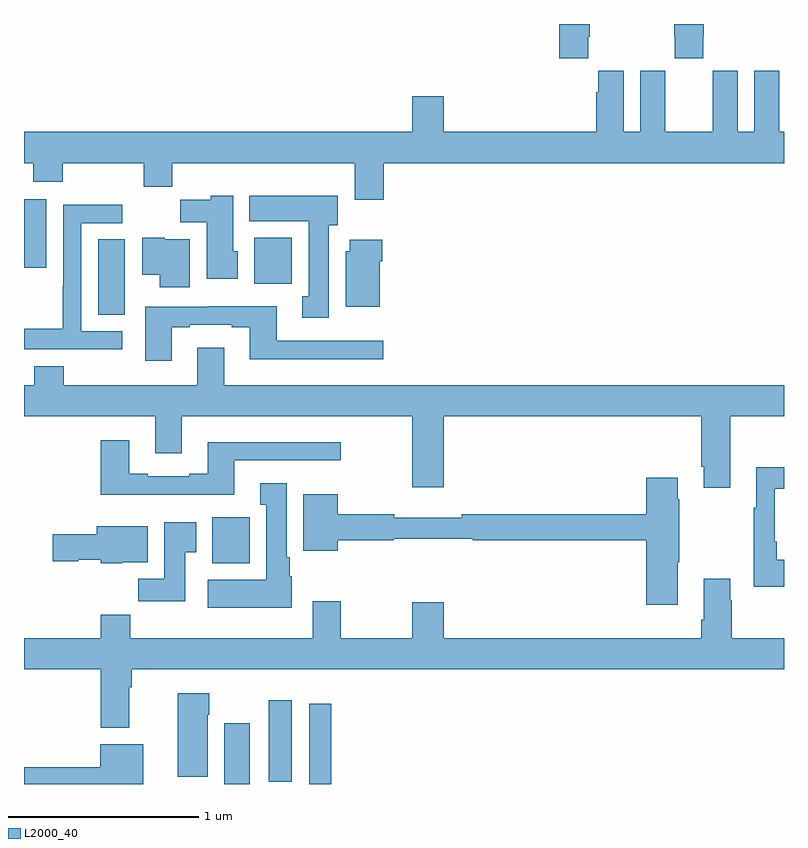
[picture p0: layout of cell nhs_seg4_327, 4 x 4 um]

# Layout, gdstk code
import gdstk
lib = gdstk.Library(unit=1e-6, precision=1e-09)
def R(c, l, rs):  # rectangles x0, y0, x1, y1
    for r in rs: c.add(gdstk.rectangle(r[:2], r[2:], *l))
def P(c, l, *ps):  # polygons
    for p in ps: c.add(gdstk.Polygon(p, *l))
L2000_40 = (2000, 40)

nhs_seg4_327 = lib.new_cell('nhs_seg4_327')
R(nhs_seg4_327, L2000_40, [(128.054,778.9,128.188,779.221), (128.502,778.9,128.618,779.323), (128.288,778.911,128.41,779.341), (127.991,780.062,128.188,780.304), (127.391,781.369,127.531,781.766), (128.213,781.532,128.41,781.774), (127,781.617,127.117,781.978)])
P(nhs_seg4_327, L2000_40, [(130.575,782.833),(130.578,782.833),(130.578,782.9),(130.423,782.9),(130.423,782.833),(130.425,782.833),(130.425,782.721),(130.575,782.721)],
  [(129.971,782.833),(129.977,782.833),(129.977,782.9),(129.818,782.9),(129.818,782.721),(129.971,782.721)],
  [(128.894,782.168),(131,782.168),(131,782.332),(130.975,782.332),(130.975,782.54),(130.974,782.54),(130.974,782.653),(130.844,782.653),(130.844,782.332),(130.756,782.332),(130.756,782.653),(130.626,782.653),(130.626,782.54),(130.625,782.54),(130.625,782.332),(130.375,782.332),(130.375,782.54),(130.374,782.54),(130.374,782.653),(130.244,782.653),(130.244,782.332),(130.156,782.332),(130.156,782.653),(130.022,782.653),(130.022,782.54),(130.013,782.54),(130.013,782.332),(129.208,782.332),(129.208,782.521),(129.044,782.521),(129.044,782.332),(127,782.332),(127,782.168),(127.048,782.168),(127.048,782.069),(127.203,782.069),(127.203,782.168),(127.63,782.168),(127.63,782.044),(127.781,782.044),(127.781,782.168),(128.741,782.168),(128.741,781.974),(128.894,781.974)],
  [(128.605,781.842),(128.65,781.842),(128.65,781.996),(128.186,781.996),(128.186,781.862),(128.498,781.862),(128.498,781.466),(128.465,781.466),(128.465,781.353),(128.605,781.353)],
  [(128.125,781.704),(128.101,781.704),(128.101,781.996),(127.983,781.996),(127.983,781.975),(127.822,781.975),(127.822,781.856),(127.961,781.856),(127.961,781.56),(128.125,781.56)],
  [(127.516,781.284),(127.302,781.284),(127.302,781.851),(127.516,781.851),(127.516,781.95),(127.206,781.95),(127.206,781.52),(127.204,781.52),(127.204,781.297),(127,781.297),(127,781.188),(127.516,781.188)],
  [(127.873,781.768),(127.74,781.768),(127.74,781.774),(127.622,781.774),(127.622,781.58),(127.715,781.58),(127.715,781.515),(127.873,781.515)],
  [(128.872,781.652),(128.885,781.652),(128.885,781.765),(128.714,781.765),(128.714,781.704),(128.693,781.704),(128.693,781.412),(128.872,781.412)],
  [(127.777,781.305),(127.873,781.305),(127.873,781.317),(128.093,781.317),(128.093,781.305),(128.189,781.305),(128.189,781.136),(128.89,781.136),(128.89,781.233),(128.329,781.233),(128.329,781.414),(127.969,781.414),(127.969,781.413),(127.637,781.413),(127.637,781.128),(127.777,781.128)],
  [(130.717,780.836),(131,780.836),(131,781),(128.053,781),(128.053,781.195),(127.913,781.195),(127.913,781),(127.208,781),(127.208,781.099),(127.055,781.099),(127.055,781),(127,781),(127,780.836),(127.691,780.836),(127.691,780.642),(127.831,780.642),(127.831,780.836),(129.044,780.836),(129.044,780.462),(129.208,780.462),(129.208,780.836),(130.565,780.836),(130.565,780.571),(130.577,780.571),(130.577,780.459),(130.717,780.459)],
  [(128.107,780.603),(128.668,780.603),(128.668,780.7),(127.967,780.7),(127.967,780.532),(127.871,780.532),(127.871,780.519),(127.651,780.519),(127.651,780.532),(127.555,780.532),(127.555,780.709),(127.403,780.709),(127.403,780.422),(128.107,780.422)],
  [(131,780.079),(130.963,780.079),(130.963,780.175),(130.95,780.175),(130.95,780.455),(131,780.455),(131,780.568),(130.853,780.568),(130.853,780.355),(130.842,780.355),(130.842,779.939),(131,779.939)],
  [(130.441,780.067),(130.449,780.067),(130.449,780.398),(130.441,780.398),(130.441,780.511),(130.274,780.511),(130.274,780.32),(129.304,780.32),(129.304,780.301),(128.948,780.301),(128.948,780.32),(128.65,780.32),(128.65,780.424),(128.471,780.424),(128.471,780.128),(128.65,780.128),(128.65,780.184),(128.946,780.184),(128.946,780.192),(129.361,780.192),(129.361,780.184),(130.274,780.184),(130.274,779.844),(130.441,779.844)],
  [(128.41,779.994),(128.398,779.994),(128.398,780.094),(128.383,780.094),(128.383,780.484),(128.243,780.484),(128.243,780.371),(128.276,780.371),(128.276,779.974),(127.967,779.974),(127.967,779.828),(128.41,779.828)],
  [(127.849,780.121),(127.906,780.121),(127.906,780.277),(127.739,780.277),(127.739,779.98),(127.6,779.98),(127.6,779.862),(127.849,779.862)],
  [(127.518,780.068),(127.651,780.068),(127.651,780.256),(127.382,780.256),(127.382,780.215),(127.152,780.215),(127.152,780.073),(127.286,780.073),(127.286,780.08),(127.404,780.08),(127.404,780.062),(127.518,780.062)],
  [(127.555,779.408),(127.568,779.408),(127.568,779.504),(131,779.504),(131,779.668),(130.725,779.668),(130.725,779.867),(130.717,779.867),(130.717,779.98),(130.577,779.98),(130.577,779.764),(130.565,779.764),(130.565,779.668),(129.208,779.668),(129.208,779.857),(129.044,779.857),(129.044,779.668),(128.667,779.668),(128.667,779.863),(128.519,779.863),(128.519,779.668),(127.559,779.668),(127.559,779.792),(127.403,779.792),(127.403,779.668),(127,779.668),(127,779.504),(127.403,779.504),(127.403,779.195),(127.555,779.195)],
  [(127.966,779.264),(127.974,779.264),(127.974,779.377),(127.808,779.377),(127.808,778.938),(127.966,778.938)],
  [(127.627,779.11),(127.4,779.11),(127.4,778.988),(127,778.988),(127,778.9),(127.627,778.9)])

lib.write_gds('nhs_seg4_327.gds')
